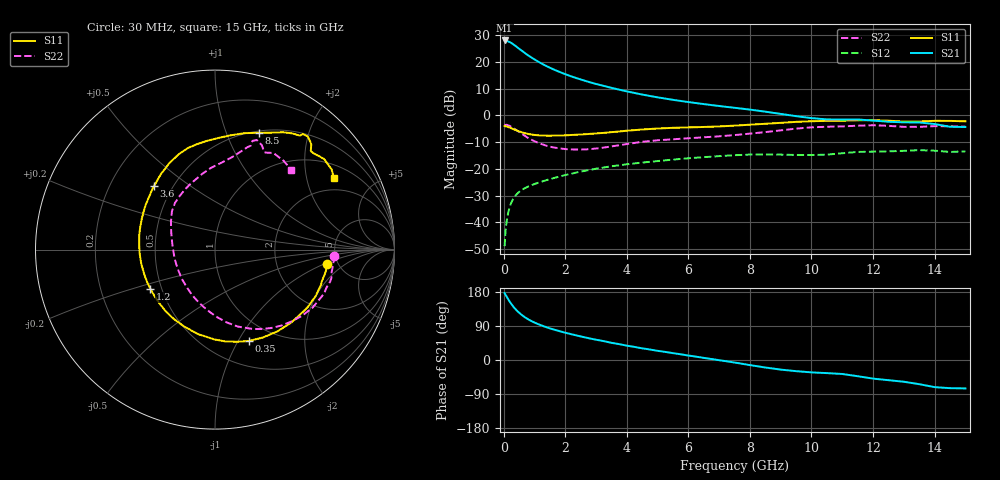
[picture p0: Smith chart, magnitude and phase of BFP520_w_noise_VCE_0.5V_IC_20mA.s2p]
! Infineon Technologies  Discrete & RF Semiconductors
! BFP520
! VCE =  0.5 V,  IC =  20 mA
! Common Emitter S-Parameters:  Oct 2015
# GHz  S  MA  R  50
!  f  S11  S21  S12  S22
! GHz  MAG  ANG  MAG  ANG  MAG  ANG  MAG  ANG
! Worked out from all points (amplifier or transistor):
!   109 points, 30 MHz to 15 GHz, reference 50 ohm
!   highest |S21| = 28.0 dB at 30 MHz (marker M1)
!   |S21| within 3 dB of that: start of sweep to 490.9 MHz
!   unconditionally stable (mu >= 1): start of sweep to 59.45 MHz; 1.624 GHz to end of sweep
!   at 450 MHz: K = 0.51, MSG = 27.2 dB, |S12| = -29.1 dB
!   at 4 GHz: K = 1.28, MAG = 10.4 dB, |S12| = -18.3 dB
!   at 15 GHz: K = 1.43, MAG = 0.7 dB, |S12| = -13.5 dB
!   lowest NFmin = 2.00 dB at 900 MHz
!   S11 on the Smith chart (normalised r, x): 30 MHz: 4.11, -1.10; 350 MHz: 0.77, -1.11; 1.2 GHz: 0.43, -0.23; 3.6 GHz: 0.40, +0.37; 8.5 GHz: 0.52, +1.31; 15 GHz: 1.47, +2.92
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0.03  0.6312 -7.3  25.07 176.6  0.0036 99.2  0.6618 -3.1
0.09  0.6193 -20.7  24.92 168.1  0.0095 84.5  0.6676 -13.6
0.15  0.6037 -33.8  23.94 159.7  0.0155 77.9  0.6503 -23.5
0.2  0.5884 -43.6  23.29 153.4  0.0198 73.0  0.6329 -30.6
0.25  0.5733 -52.6  22.49 147.6  0.0237 68.8  0.6087 -37.4
0.35  0.5431 -69.6  20.43 137.1  0.03 62.3  0.5603 -49.2
0.4  0.528 -76.6  19.53 132.7  0.0325 59.9  0.5369 -54.5
0.5  0.5011 -90.1  17.58 124.8  0.0371 56.0  0.4914 -64.3
0.6  0.4803 -101.3  15.99 118.0  0.0409 53.1  0.4481 -73.3
0.7  0.462 -111.8  14.46 112.2  0.0441 50.9  0.4108 -80.9
0.9  0.4394 -128.9  12.05 102.8  0.0496 48.0  0.351 -94.2
1.2  0.4211 -148.8  9.502 92.1  0.0571 45.7  0.2946 -111.9
1.5  0.4168 -164.4  7.774 83.5  0.0644 44.0  0.2609 -127.7
1.8  0.4201 -177.0  6.53 76.4  0.0716 42.6  0.2423 -141.7
2.6  0.4427 157.1  4.499 60.4  0.0912 37.7  0.2309 -174.1
3.6  0.4908 133.7  3.169 44.0  0.1139 29.5  0.2682 155.7
5.1  0.5712 109.7  2.124 23.1  0.1418 17.1  0.3453 129.1
7.6  0.6476 80.8  1.363 -8.0  0.181 -5.9  0.4335 98.0
8.5  0.6957 69.3  1.172 -19.8  0.1865 -15.5  0.4863 85.6
10.5  0.7882 54.0  0.84 -34.6  0.1847 -26.5  0.6123 71.0
13  0.7657 45.8  0.74 -57.4  0.2176 -46.7  0.6092 63.3
15  0.7736 31.1  0.605 -75.0  0.2124 -62.6  0.6142 46.4
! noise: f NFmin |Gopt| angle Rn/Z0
0.45  2.01  0.16  1  0.27
0.9  2  0.12  1  0.3
1.9  2.2  0.1  -2  0.28
2.4  2.2  0.08  -6  0.28
3.5  2.15  0.04  -30  0.29
